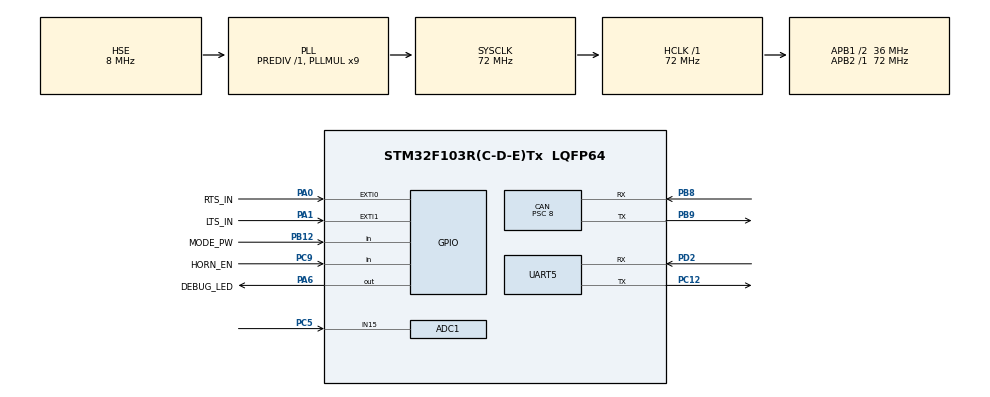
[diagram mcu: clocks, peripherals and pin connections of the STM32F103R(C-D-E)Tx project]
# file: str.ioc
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ADC1.Channel-18\#ChannelRegularConversion=ADC_CHANNEL_15
ADC1.NbrOfConversionFlag=1
ADC1.Rank-18\#ChannelRegularConversion=1
ADC1.SamplingTime-18\#ChannelRegularConversion=ADC_SAMPLETIME_1CYCLE_5
ADC1.master=1
CAN.BS1=CAN_BS1_4TQ
CAN.BS2=CAN_BS2_4TQ
CAN.CalculateBaudRate=500000
CAN.CalculateTimeBit=2000
CAN.CalculateTimeQuantum=222.22222222222223
CAN.Prescaler=8
Mcu.Family=STM32F1
Mcu.Name=STM32F103R(C-D-E)Tx
Mcu.Package=LQFP64
NVIC.PriorityGroup=NVIC_PRIORITYGROUP_4
NVIC.TIM1_UP_IRQn=true\:15\:0\:false\:false\:true\:false\:true\:true
NVIC.TimeBase=TIM1_UP_IRQn
NVIC.TimeBaseIP=TIM1
PA0-WKUP.GPIO_Label=RTS_IN
PA0-WKUP.GPIO_ModeDefaultEXTI=GPIO_MODE_IT_FALLING
PA0-WKUP.Signal=GPXTI0
PA1.GPIO_Label=LTS_IN
PA1.GPIO_ModeDefaultEXTI=GPIO_MODE_IT_FALLING
PA1.Signal=GPXTI1
PA13.Mode=Serial_Wire
PA13.Signal=SYS_JTMS-SWDIO
PA14.Mode=Serial_Wire
PA14.Signal=SYS_JTCK-SWCLK
PA6.GPIO_Label=DEBUG_LED
PA6.Signal=GPIO_Output
PB12.GPIO_Label=MODE_PW
PB12.Signal=GPIO_Input
PB8.Mode=CAN_Activate
PB8.Signal=CAN_RX
PB9.Mode=CAN_Activate
PB9.Signal=CAN_TX
PC12.Mode=Asynchronous
PC12.Signal=UART5_TX
PC5.Signal=ADCx_IN15
PC9.GPIO_Label=HORN_EN
PC9.Signal=GPIO_Input
PD0-OSC_IN.Mode=HSE-External-Oscillator
PD0-OSC_IN.Signal=RCC_OSC_IN
PD1-OSC_OUT.Mode=HSE-External-Oscillator
PD1-OSC_OUT.Signal=RCC_OSC_OUT
PD2.Mode=Asynchronous
PD2.Signal=UART5_RX
ProjectManager.HeapSize=0x200
ProjectManager.StackSize=0x400
ProjectManager.TargetToolchain=STM32CubeIDE
RCC.ADCPresc=RCC_ADCPCLK2_DIV6
RCC.AHBFreq_Value=72000000
RCC.APB1CLKDivider=RCC_HCLK_DIV2
RCC.APB1Freq_Value=36000000
RCC.APB1TimFreq_Value=72000000
RCC.APB2Freq_Value=72000000
RCC.APB2TimFreq_Value=72000000
RCC.HCLKFreq_Value=72000000
RCC.PLLMUL=RCC_PLL_MUL9
RCC.PLLSourceVirtual=RCC_PLLSOURCE_HSE
RCC.SYSCLKFreq_VALUE=72000000
RCC.SYSCLKSource=RCC_SYSCLKSOURCE_PLLCLK
RCC.USBFreq_Value=72000000
SH.ADCx_IN15.0=ADC1_IN15,IN15
UART5.VirtualMode=Asynchronous
VP_IWDG_VS_IWDG.Mode=IWDG_Activate
VP_SYS_VS_tim1.Mode=TIM1
board=custom

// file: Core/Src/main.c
/* USER CODE BEGIN Header */
/**
  ******************************************************************************
  * @file           : main.c
  * @brief          : Main program body
  ******************************************************************************
  * @attention
  *
  * Copyright (c) 2025 STMicroelectronics.
  * All rights reserved.
  *
  * This software is licensed under terms that can be found in the LICENSE file
  * in the root directory of this software component.
  * If no LICENSE file comes with this software, it is provided AS-IS.
  *
  ******************************************************************************
  */
/* USER CODE END Header */
#include "main.h"
#include "adc.h"
#include "can.h"
#include "iwdg.h"
#include "usart.h"
#include "gpio.h"

/* USER CODE BEGIN PD */

volatile turn_signal_status_t g_turn_signal_status = 0;
volatile mode_status_t g_mode_status = 0;
volatile horn_status_t g_horn_status = 0;

uint32_t g_last_time = 0;
/* USER CODE END PD */

void SystemClock_Config(void);

/* USER CODE BEGIN 0 */

/**
 * @brief Reads the RTS and LTS pins and sets status to whichever pin is switched on
 * @return Returns the value of status being 0 for none, 1 for RTS and 2 for LTS
 */
turn_signal_status_t get_turn_signal_status() {

  turn_signal_status_t status;

  status = TS_OFF;

  if((HAL_GPIO_ReadPin(LTS_IN_GPIO_Port, LTS_IN_Pin)) && !(HAL_GPIO_ReadPin(RTS_IN_GPIO_Port, RTS_IN_Pin)))
  {
    status = TS_LEFT;
  }

  else if((HAL_GPIO_ReadPin(RTS_IN_GPIO_Port, RTS_IN_Pin)) && !(HAL_GPIO_ReadPin(LTS_IN_GPIO_Port, LTS_IN_Pin)))
  {
    status = TS_RIGHT;
  }

  return status;
}

/**
 * @brief Checks the status on the MODE_PW Pin and reads if it is on power mode or eco mode
 * @return Returns the status of the mode being 0 or 1
 */
mode_status_t get_mode_status() {

  mode_status_t status;

  status = ECO_MODE;

  if(!(HAL_GPIO_ReadPin(MODE_PW_GPIO_Port, MODE_PW_Pin)))
  {
    status = POWER_MODE;
  } else {
    status = ECO_MODE;
  }

  return status;
}

/**
 * @brief Checks the status on the HORN_EN Pin and reads if it is activated or not
 * @return Returns the status of the horn being 0 or 1
 */
horn_status_t get_horn_status() {

  horn_status_t status;

  status = HORN_OFF;

  if(!(HAL_GPIO_ReadPin(HORN_EN_GPIO_Port, HORN_EN_Pin)))
  {
    status = HORN_ON;
  } else {
    status = HORN_OFF;
  }

  return status;
}
/* USER CODE END 0 */

int main(void)
{

  /* MCU Configuration--------------------------------------------------------*/

  /* Reset of all peripherals, Initializes the Flash interface and the Systick. */
  HAL_Init();

  /* Configure the system clock */
  SystemClock_Config();

  /* Initialize all configured peripherals */
  MX_GPIO_Init();
  MX_CAN_Init();
  MX_UART5_Init();
  MX_ADC1_Init();
  MX_IWDG_Init();
  /* USER CODE BEGIN 2 */
  g_str_diagnostic_flags.raw = 0;

  IWDG_perform_reset_sequence();      // Check for IWDG reset
  STR_diagnostic_flags();

  turn_signal_status_t turn_status = get_turn_signal_status();

  mode_status_t mode_status = get_mode_status();

  horn_status_t horn_status = get_horn_status();

  CAN_tx_turn_signal_mode_horn_msg(g_turn_signal_status, g_mode_status, g_horn_status);
  /* USER CODE END 2 */

  /* Infinite loop */
  /* USER CODE BEGIN WHILE */
  while (1)
  {
    IWDG_Refresh(&hiwdg);       // Prescaler = 4, CR

    if(HAL_GetTick() > (g_last_time + TICK_DELAY))
    {
      STR_diagnostic_flags();
      STR_time_since_bootup(g_last_time / MS_TO_S_CONVERTER);
      g_last_time = HAL_GetTick();
    }

    turn_status = get_turn_signal_status();

    mode_status = get_mode_status();

    horn_status = get_horn_status();

    // Checks if either the turn signal or mode status value changes
    if(g_turn_signal_status != turn_status || g_mode_status != mode_status || g_horn_status != horn_status)
    {
      g_turn_signal_status = turn_status;

      g_mode_status = mode_status;

      g_horn_status = horn_status;

      CAN_tx_turn_signal_mode_horn_msg(g_turn_signal_status, g_mode_status, g_horn_status);
    }

    HAL_Delay(TURN_SIGNAL_MODE_DELAY);
    /* USER CODE END WHILE */

  }
}

void SystemClock_Config(void)
{
  RCC_OscInitTypeDef RCC_OscInitStruct = {0};
  RCC_ClkInitTypeDef RCC_ClkInitStruct = {0};
  RCC_PeriphCLKInitTypeDef PeriphClkInit = {0};

  /** Initializes the RCC Oscillators according to the specified parameters
  * in the RCC_OscInitTypeDef structure.
  */
  RCC_OscInitStruct.OscillatorType = RCC_OSCILLATORTYPE_LSI|RCC_OSCILLATORTYPE_HSE;
  RCC_OscInitStruct.HSEState = RCC_HSE_ON;
  RCC_OscInitStruct.HSEPredivValue = RCC_HSE_PREDIV_DIV1;
  RCC_OscInitStruct.HSIState = RCC_HSI_ON;
  RCC_OscInitStruct.LSIState = RCC_LSI_ON;
  RCC_OscInitStruct.PLL.PLLState = RCC_PLL_ON;
  RCC_OscInitStruct.PLL.PLLSource = RCC_PLLSOURCE_HSE;
  RCC_OscInitStruct.PLL.PLLMUL = RCC_PLL_MUL9;
  if (HAL_RCC_OscConfig(&RCC_OscInitStruct) != HAL_OK)
  {
    Error_Handler();
  }

  /** Initializes the CPU, AHB and APB buses clocks
  */
  RCC_ClkInitStruct.ClockType = RCC_CLOCKTYPE_HCLK|RCC_CLOCKTYPE_SYSCLK
                              |RCC_CLOCKTYPE_PCLK1|RCC_CLOCKTYPE_PCLK2;
  RCC_ClkInitStruct.SYSCLKSource = RCC_SYSCLKSOURCE_PLLCLK;
  RCC_ClkInitStruct.AHBCLKDivider = RCC_SYSCLK_DIV1;
  RCC_ClkInitStruct.APB1CLKDivider = RCC_HCLK_DIV2;
  RCC_ClkInitStruct.APB2CLKDivider = RCC_HCLK_DIV1;

  if (HAL_RCC_ClockConfig(&RCC_ClkInitStruct, FLASH_LATENCY_2) != HAL_OK)
  {
    Error_Handler();
  }
  PeriphClkInit.PeriphClockSelection = RCC_PERIPHCLK_ADC;
  PeriphClkInit.AdcClockSelection = RCC_ADCPCLK2_DIV6;
  if (HAL_RCCEx_PeriphCLKConfig(&PeriphClkInit) != HAL_OK)
  {
    Error_Handler();
  }
}

void HAL_TIM_PeriodElapsedCallback(TIM_HandleTypeDef *htim)
{
  if (htim->Instance == TIM1) {
    HAL_IncTick();
  }
}

void Error_Handler(void)
{
  __disable_irq();
  while (1)
  {
  }
}
